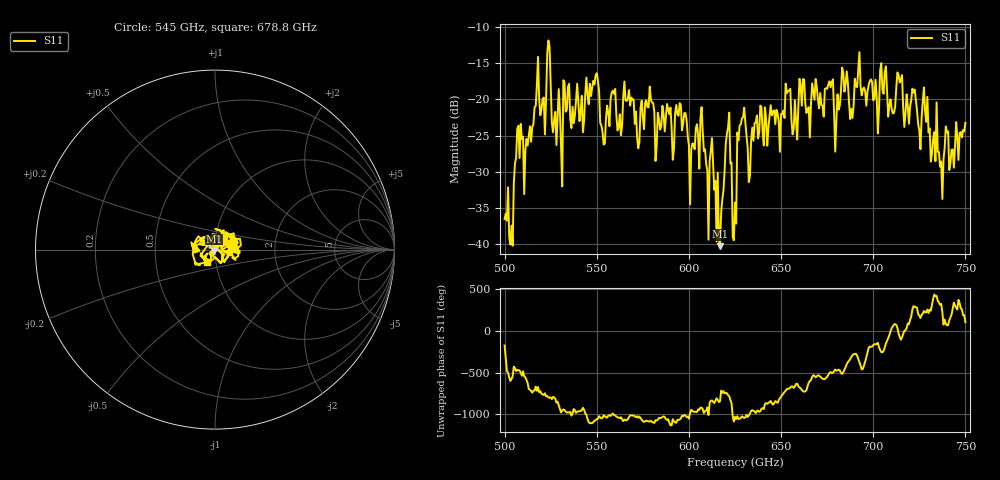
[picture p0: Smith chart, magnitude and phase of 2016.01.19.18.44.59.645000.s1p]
!Created with skrf (http://scikit-rf.org).
# GHz S RI R 50.0
!freq ReS11 ImS11
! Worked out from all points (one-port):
!   401 points, 500 GHz to 750 GHz, reference 50 ohm
!   lowest |S11| = -40.3 dB at 616.9 GHz (marker M1), VSWR 1.02, Z = 49.4 - j0.792 ohm
!   |S11| at or under -10 dB: start of sweep to end of sweep
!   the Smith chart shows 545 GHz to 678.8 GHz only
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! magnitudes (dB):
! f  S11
! 500 GHz  -36.5
! 503.8 GHz  -37.4
! 507.5 GHz  -23.6
! 511.9 GHz  -25.5
! 523.8 GHz  -11.9
! 526.9 GHz  -22.8
! 531.2 GHz  -32.0
! 549.4 GHz  -16.7
! 553.1 GHz  -24.5
! 558.8 GHz  -18.8
! 562.5 GHz  -22.1
! 566.2 GHz  -20.2
! 571.9 GHz  -25.2
! 593.8 GHz  -22.1
! 601.2 GHz  -27.0
! 607.5 GHz  -24.5
! 616.9 GHz  -40.3
! 621.2 GHz  -23.8
! 625 GHz  -34.2
! 628.8 GHz  -22.6
! 632.5 GHz  -31.4
! 656.2 GHz  -24.8
! 687.5 GHz  -22.7
! 691.2 GHz  -18.3
! 718.8 GHz  -21.0
! 728.1 GHz  -21.6
! 736.9 GHz  -28.6
! 750 GHz  -23.2
